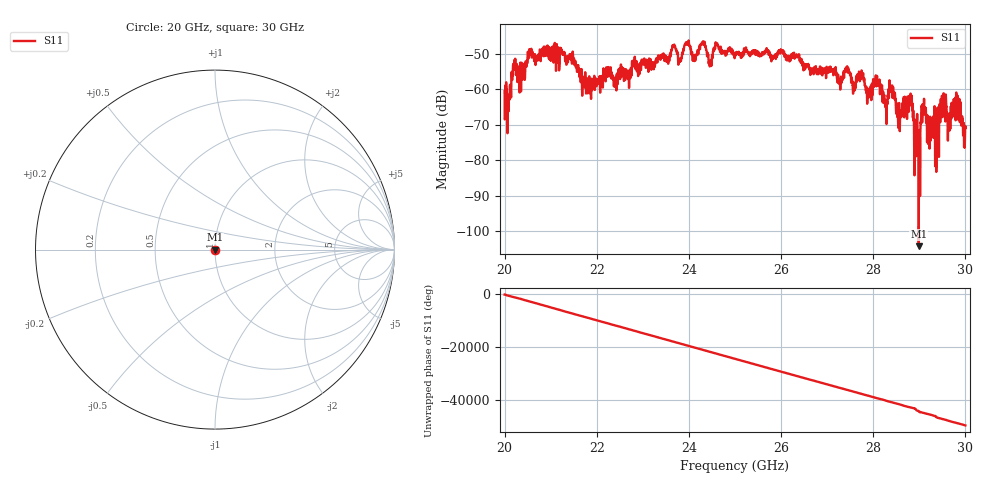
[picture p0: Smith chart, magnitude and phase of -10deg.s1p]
#  HZ  S  RI  R  50.00
! Rohde & Schwarz ZVA40 4Ports - Version 3.90 - 1145.1110k42 SN: 100403
! Date: 2023-10-03 10:14:41
! Measurement: S12
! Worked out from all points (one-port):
!   5001 points, 20 GHz to 30 GHz, reference 50 ohm
!   lowest |S11| = -104.2 dB at 28.99 GHz (marker M1), VSWR 1.00, Z = 50 - j0.000604 ohm
!   |S11| at or under -10 dB: start of sweep to end of sweep
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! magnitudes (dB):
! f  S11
! 20 GHz  -60.5
! 20.09 GHz  -62.1
! 20.2 GHz  -54.2
! 20.36 GHz  -53.3
! 20.55 GHz  -49.1
! 21.25 GHz  -49.6
! 21.85 GHz  -60.9
! 22.5 GHz  -54.7
! 23.75 GHz  -49.7
! 23.95 GHz  -46.7
! 24.12 GHz  -50.7
! 24.3 GHz  -47.2
! 25 GHz  -50.3
! 26.25 GHz  -50.1
! 27.5 GHz  -55.9
! 27.91 GHz  -61.4
! 28.09 GHz  -58.9
! 28.27 GHz  -63.3
! 28.4 GHz  -60.0
! 28.57 GHz  -68.5
! 28.75 GHz  -63.0
! 28.99 GHz  -104.2
! 29.09 GHz  -65.3
! 29.24 GHz  -67.8
! 29.53 GHz  -64.2
! 29.64 GHz  -66.8
! 29.85 GHz  -68.3
! 30 GHz  -70.7
